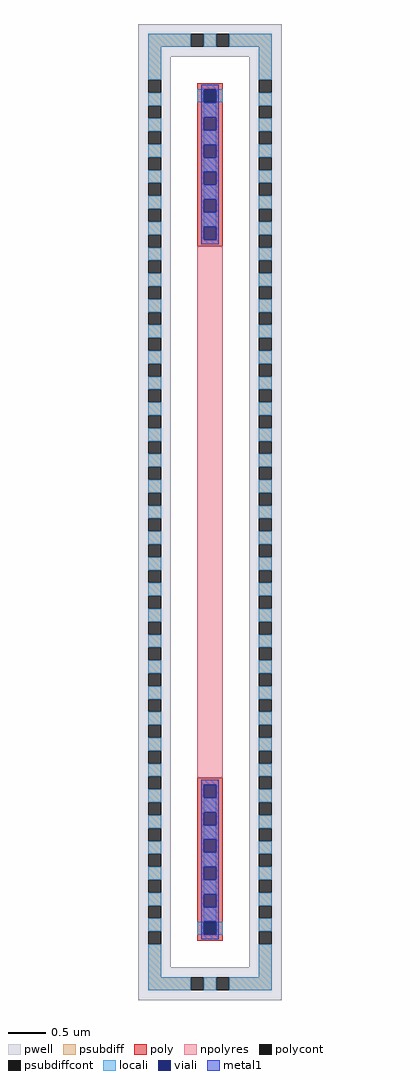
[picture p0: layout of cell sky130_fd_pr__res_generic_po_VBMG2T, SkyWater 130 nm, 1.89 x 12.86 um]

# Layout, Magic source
magic
tech sky130A
magscale 1 2
<< pwell >>
rect -189 1200 189 1286
rect -189 -1200 -103 1200
rect 103 -1200 189 1200
rect -189 -1286 189 -1200
<< psubdiff >>
rect -163 1226 -51 1260
rect -17 1226 17 1260
rect 51 1226 163 1260
rect -163 1139 -129 1226
rect 129 1139 163 1226
rect -163 1071 -129 1105
rect -163 1003 -129 1037
rect -163 935 -129 969
rect -163 867 -129 901
rect -163 799 -129 833
rect -163 731 -129 765
rect -163 663 -129 697
rect -163 595 -129 629
rect -163 527 -129 561
rect -163 459 -129 493
rect -163 391 -129 425
rect -163 323 -129 357
rect -163 255 -129 289
rect -163 187 -129 221
rect -163 119 -129 153
rect -163 51 -129 85
rect -163 -17 -129 17
rect -163 -85 -129 -51
rect -163 -153 -129 -119
rect -163 -221 -129 -187
rect -163 -289 -129 -255
rect -163 -357 -129 -323
rect -163 -425 -129 -391
rect -163 -493 -129 -459
rect -163 -561 -129 -527
rect -163 -629 -129 -595
rect -163 -697 -129 -663
rect -163 -765 -129 -731
rect -163 -833 -129 -799
rect -163 -901 -129 -867
rect -163 -969 -129 -935
rect -163 -1037 -129 -1003
rect -163 -1105 -129 -1071
rect 129 1071 163 1105
rect 129 1003 163 1037
rect 129 935 163 969
rect 129 867 163 901
rect 129 799 163 833
rect 129 731 163 765
rect 129 663 163 697
rect 129 595 163 629
rect 129 527 163 561
rect 129 459 163 493
rect 129 391 163 425
rect 129 323 163 357
rect 129 255 163 289
rect 129 187 163 221
rect 129 119 163 153
rect 129 51 163 85
rect 129 -17 163 17
rect 129 -85 163 -51
rect 129 -153 163 -119
rect 129 -221 163 -187
rect 129 -289 163 -255
rect 129 -357 163 -323
rect 129 -425 163 -391
rect 129 -493 163 -459
rect 129 -561 163 -527
rect 129 -629 163 -595
rect 129 -697 163 -663
rect 129 -765 163 -731
rect 129 -833 163 -799
rect 129 -901 163 -867
rect 129 -969 163 -935
rect 129 -1037 163 -1003
rect 129 -1105 163 -1071
rect -163 -1226 -129 -1139
rect 129 -1226 163 -1139
rect -163 -1260 -51 -1226
rect -17 -1260 17 -1226
rect 51 -1260 163 -1226
<< psubdiffcont >>
rect -51 1226 -17 1260
rect 17 1226 51 1260
rect -163 1105 -129 1139
rect -163 1037 -129 1071
rect -163 969 -129 1003
rect -163 901 -129 935
rect -163 833 -129 867
rect -163 765 -129 799
rect -163 697 -129 731
rect -163 629 -129 663
rect -163 561 -129 595
rect -163 493 -129 527
rect -163 425 -129 459
rect -163 357 -129 391
rect -163 289 -129 323
rect -163 221 -129 255
rect -163 153 -129 187
rect -163 85 -129 119
rect -163 17 -129 51
rect -163 -51 -129 -17
rect -163 -119 -129 -85
rect -163 -187 -129 -153
rect -163 -255 -129 -221
rect -163 -323 -129 -289
rect -163 -391 -129 -357
rect -163 -459 -129 -425
rect -163 -527 -129 -493
rect -163 -595 -129 -561
rect -163 -663 -129 -629
rect -163 -731 -129 -697
rect -163 -799 -129 -765
rect -163 -867 -129 -833
rect -163 -935 -129 -901
rect -163 -1003 -129 -969
rect -163 -1071 -129 -1037
rect -163 -1139 -129 -1105
rect 129 1105 163 1139
rect 129 1037 163 1071
rect 129 969 163 1003
rect 129 901 163 935
rect 129 833 163 867
rect 129 765 163 799
rect 129 697 163 731
rect 129 629 163 663
rect 129 561 163 595
rect 129 493 163 527
rect 129 425 163 459
rect 129 357 163 391
rect 129 289 163 323
rect 129 221 163 255
rect 129 153 163 187
rect 129 85 163 119
rect 129 17 163 51
rect 129 -51 163 -17
rect 129 -119 163 -85
rect 129 -187 163 -153
rect 129 -255 163 -221
rect 129 -323 163 -289
rect 129 -391 163 -357
rect 129 -459 163 -425
rect 129 -527 163 -493
rect 129 -595 163 -561
rect 129 -663 163 -629
rect 129 -731 163 -697
rect 129 -799 163 -765
rect 129 -867 163 -833
rect 129 -935 163 -901
rect 129 -1003 163 -969
rect 129 -1071 163 -1037
rect 129 -1139 163 -1105
rect -51 -1260 -17 -1226
rect 17 -1260 51 -1226
<< poly >>
rect -33 1114 33 1130
rect -33 1080 -17 1114
rect 17 1080 33 1114
rect -33 700 33 1080
rect -33 -1080 33 -700
rect -33 -1114 -17 -1080
rect 17 -1114 33 -1080
rect -33 -1130 33 -1114
<< polycont >>
rect -17 1080 17 1114
rect -17 -1114 17 -1080
<< npolyres >>
rect -33 -700 33 700
<< locali >>
rect -163 1226 -51 1260
rect -17 1226 17 1260
rect 51 1226 163 1260
rect -163 1139 -129 1226
rect 129 1139 163 1226
rect -163 1071 -129 1105
rect -33 1080 -17 1114
rect 17 1080 33 1114
rect -163 1003 -129 1037
rect -163 935 -129 969
rect -163 867 -129 901
rect -163 799 -129 833
rect -163 731 -129 765
rect -17 1040 17 1078
rect -17 968 17 1006
rect -17 896 17 934
rect -17 824 17 862
rect -17 752 17 790
rect -17 717 17 718
rect 129 1071 163 1105
rect 129 1003 163 1037
rect 129 935 163 969
rect 129 867 163 901
rect 129 799 163 833
rect 129 731 163 765
rect -163 663 -129 697
rect -163 595 -129 629
rect -163 527 -129 561
rect -163 459 -129 493
rect -163 391 -129 425
rect -163 323 -129 357
rect -163 255 -129 289
rect -163 187 -129 221
rect -163 119 -129 153
rect -163 51 -129 85
rect -163 -17 -129 17
rect -163 -85 -129 -51
rect -163 -153 -129 -119
rect -163 -221 -129 -187
rect -163 -289 -129 -255
rect -163 -357 -129 -323
rect -163 -425 -129 -391
rect -163 -493 -129 -459
rect -163 -561 -129 -527
rect -163 -629 -129 -595
rect -163 -697 -129 -663
rect 129 663 163 697
rect 129 595 163 629
rect 129 527 163 561
rect 129 459 163 493
rect 129 391 163 425
rect 129 323 163 357
rect 129 255 163 289
rect 129 187 163 221
rect 129 119 163 153
rect 129 51 163 85
rect 129 -17 163 17
rect 129 -85 163 -51
rect 129 -153 163 -119
rect 129 -221 163 -187
rect 129 -289 163 -255
rect 129 -357 163 -323
rect 129 -425 163 -391
rect 129 -493 163 -459
rect 129 -561 163 -527
rect 129 -629 163 -595
rect 129 -697 163 -663
rect -163 -765 -129 -731
rect -163 -833 -129 -799
rect -163 -901 -129 -867
rect -163 -969 -129 -935
rect -163 -1037 -129 -1003
rect -163 -1105 -129 -1071
rect -17 -719 17 -717
rect -17 -791 17 -753
rect -17 -863 17 -825
rect -17 -935 17 -897
rect -17 -1007 17 -969
rect -17 -1079 17 -1041
rect 129 -765 163 -731
rect 129 -833 163 -799
rect 129 -901 163 -867
rect 129 -969 163 -935
rect 129 -1037 163 -1003
rect -33 -1114 -17 -1080
rect 17 -1114 33 -1080
rect 129 -1105 163 -1071
rect -163 -1226 -129 -1139
rect 129 -1226 163 -1139
rect -163 -1260 -51 -1226
rect -17 -1260 17 -1226
rect 51 -1260 163 -1226
<< viali >>
rect -17 1080 17 1112
rect -17 1078 17 1080
rect -17 1006 17 1040
rect -17 934 17 968
rect -17 862 17 896
rect -17 790 17 824
rect -17 718 17 752
rect -17 -753 17 -719
rect -17 -825 17 -791
rect -17 -897 17 -863
rect -17 -969 17 -935
rect -17 -1041 17 -1007
rect -17 -1080 17 -1079
rect -17 -1113 17 -1080
<< metal1 >>
rect -23 1112 23 1126
rect -23 1078 -17 1112
rect 17 1078 23 1112
rect -23 1040 23 1078
rect -23 1006 -17 1040
rect 17 1006 23 1040
rect -23 968 23 1006
rect -23 934 -17 968
rect 17 934 23 968
rect -23 896 23 934
rect -23 862 -17 896
rect 17 862 23 896
rect -23 824 23 862
rect -23 790 -17 824
rect 17 790 23 824
rect -23 752 23 790
rect -23 718 -17 752
rect 17 718 23 752
rect -23 705 23 718
rect -23 -719 23 -705
rect -23 -753 -17 -719
rect 17 -753 23 -719
rect -23 -791 23 -753
rect -23 -825 -17 -791
rect 17 -825 23 -791
rect -23 -863 23 -825
rect -23 -897 -17 -863
rect 17 -897 23 -863
rect -23 -935 23 -897
rect -23 -969 -17 -935
rect 17 -969 23 -935
rect -23 -1007 23 -969
rect -23 -1041 -17 -1007
rect 17 -1041 23 -1007
rect -23 -1079 23 -1041
rect -23 -1113 -17 -1079
rect 17 -1113 23 -1079
rect -23 -1126 23 -1113
<< properties >>
string FIXED_BBOX -146 -1243 146 1243
<< end >>
